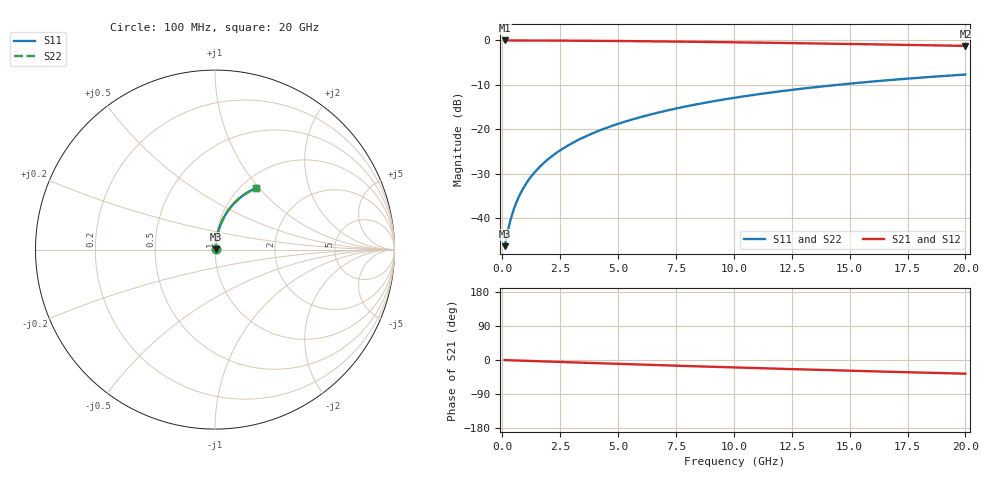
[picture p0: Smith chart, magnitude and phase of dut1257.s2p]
! Touchstone file exported from HFSS 2024.1.0
!  File:  C:/UserFiles/LocalFiles/RDL_TSV_Batchsim/temp_RDL_bottom_1257_1780245654.aedt
!  Generated:  12:43:32 AM Jun  1, 2026
!  Design:  RDL_bottom
!  Project:  temp_RDL_bottom_1257_1780245654
!  Setup:  Setup1
!  Solution:  Sweep
! Variables:
!  dtsv = 10.80580581um
!  hbump = 3um
!  htsv = 62.76um
!  ldown = 474.4um
!  lrdl = 100um
!  p = 40
!  p1 = 41.41um
!  rhole = 1um
!  t = 450um
!  tdown = 3.45um
!  trdl = 3.915915916um
!  wdown = 11.72um
!  wrdl = 20um
# GHz S MA R 50.000000
! Terminal data exported
! Port[1] = RDL1_T1
! Port[2] = RDL1_T2
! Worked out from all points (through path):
!   200 points, 100 MHz to 20 GHz, reference 50 ohm
!   highest |S21| = -0.04 dB at 100 MHz (marker M1); lowest = -1.3 dB at 20 GHz (marker M2)
!   group delay of S21, straight-line fit = 5.01 ps
!   lowest |S11| = -46.2 dB at 100 MHz (marker M3), VSWR 1.01, Z = 50.4 + j0.243 ohm
!   |S11| at or under -10 dB: start of sweep to 14.49 GHz
!   |S22| runs from -46.2 to -7.7 dB; largest |S21 - S12| = 2.6e-15
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0.1  0.004873 29.6  0.9958 -0.2  0.9958 -0.2  0.004873 29.6
! Gamma 0 0 0 0
! Port Impedance 50 0 50 0
0.3  0.00842 58.4  0.9956 -0.6  0.9956 -0.6  0.00842 58.4
0.4  0.01054 64.6  0.9955 -0.8  0.9955 -0.8  0.01054 64.6
0.5  0.01272 68.5  0.9954 -1.1  0.9954 -1.1  0.01272 68.5
0.6  0.01494 71.3  0.9952 -1.3  0.9952 -1.3  0.01494 71.3
0.8  0.01941 74.8  0.995 -1.7  0.995 -1.7  0.01941 74.8
1  0.02391 76.9  0.9947 -2.1  0.9947 -2.1  0.02391 76.9
1.2  0.02843 78.3  0.9944 -2.5  0.9944 -2.5  0.02843 78.3
1.4  0.03298 79.3  0.9941 -2.9  0.9941 -2.9  0.03298 79.3
1.7  0.03981 80.2  0.9935 -3.5  0.9935 -3.5  0.03981 80.2
2.2  0.05124 80.8  0.9924 -4.5  0.9924 -4.5  0.05124 80.9
2.8  0.06498 81.0  0.9907 -5.8  0.9907 -5.8  0.06498 81.0
3.5  0.08101 80.6  0.9884 -7.2  0.9884 -7.2  0.08101 80.6
4.2  0.097 80.0  0.9856 -8.6  0.9856 -8.6  0.097 80.0
5  0.1152 79.1  0.9819 -10.2  0.9819 -10.2  0.1152 79.1
5.9  0.1356 77.9  0.9771 -11.9  0.9771 -11.9  0.1356 77.9
6.8  0.1558 76.7  0.9719 -13.7  0.9719 -13.7  0.1558 76.7
8.3  0.189 74.4  0.9621 -16.5  0.9621 -16.5  0.189 74.4
10.1  0.2278 71.6  0.9491 -19.8  0.9491 -19.8  0.2278 71.6
13.4  0.2952 66.3  0.9229 -25.6  0.9229 -25.6  0.2952 66.3
16.7  0.357 61.2  0.8946 -31.0  0.8946 -31.0  0.357 61.2
20  0.4124 56.2  0.8654 -36.1  0.8654 -36.1  0.4125 56.2
